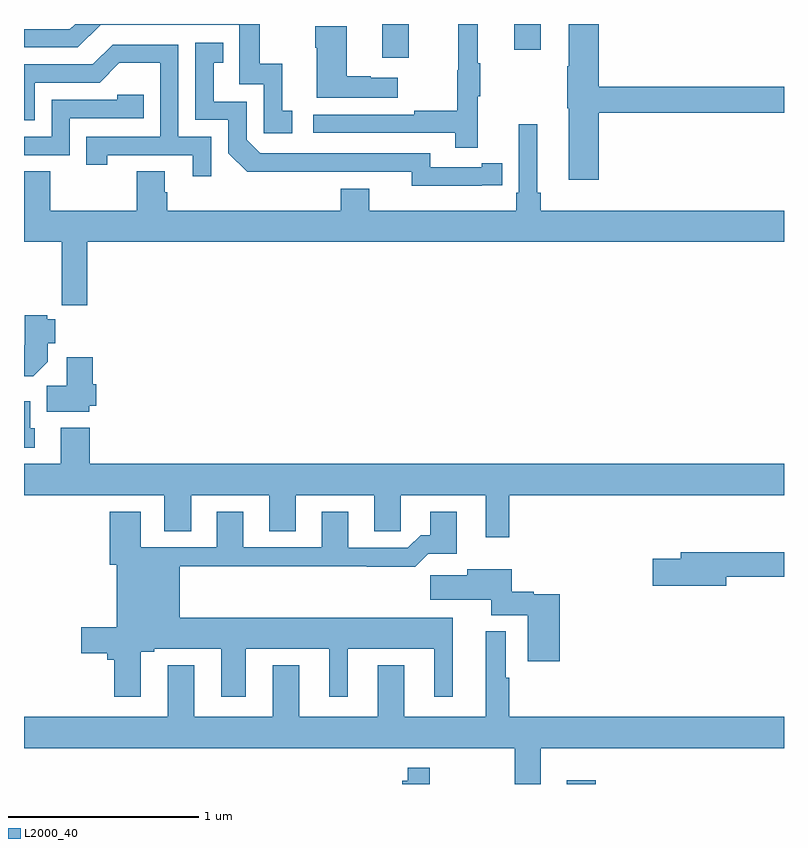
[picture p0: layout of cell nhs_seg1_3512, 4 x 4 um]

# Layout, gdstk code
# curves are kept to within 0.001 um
import gdstk
lib = gdstk.Library(unit=1e-6, precision=1e-09)
def R(c, l, rs):  # rectangles x0, y0, x1, y1
    for r in rs: c.add(gdstk.rectangle(r[:2], r[2:], *l))
def P(c, l, *ps):  # polygons
    for p in ps: c.add(gdstk.Polygon(p, *l))
L2000_40 = (2000, 40)

nhs_seg1_3512 = lib.new_cell('nhs_seg1_3512')
R(nhs_seg1_3512, L2000_40, [(303.857,562.199,304.01,562.219), (302.885,566.022,303.025,566.199), (303.581,566.064,303.721,566.199)])
P(nhs_seg1_3512, L2000_40, [(304.025,565.732),(305,565.732),(305,565.868),(304.025,565.868),(304.025,566.199),(303.866,566.199),(303.866,565.976),(303.859,565.976),(303.859,565.755),(303.866,565.755),(303.866,565.38),(304.025,565.38)],
  [(302.413,565.743),(302.36,565.743),(302.36,565.99),(302.242,565.99),(302.242,566.199),(301.269,566.199),(301.242,566.172),(301,566.172),(301,566.076),(301.284,566.076),(301.404,566.196),(302.133,566.196),(302.133,565.881),(302.262,565.881),(302.262,565.623),(302.413,565.623)],
  [(303.389,565.819),(303.4,565.819),(303.4,565.993),(303.389,565.993),(303.389,566.199),(303.286,566.199),(303.286,565.956),(303.279,565.956),(303.279,565.742),(303.055,565.742),(303.055,565.722),(302.523,565.722),(302.523,565.626),(303.271,565.626),(303.271,565.548),(303.389,565.548)],
  [(302.968,565.915),(302.825,565.915),(302.825,565.925),(302.698,565.925),(302.698,566.188),(302.533,566.188),(302.533,566.075),(302.54,566.075),(302.54,565.811),(302.968,565.811)],
  [(303.41,565.35),(303.518,565.35),(303.518,565.466),(303.41,565.466),(303.41,565.446),(303.138,565.446),(303.138,565.518),(302.244,565.518),(302.172,565.59),(302.172,565.791),(301.999,565.791),(301.999,565.995),(302.048,565.995),(302.048,566.101),(301.902,566.101),(301.902,565.695),(302.076,565.695),(302.076,565.518),(302.174,565.421),(303.042,565.422),(303.042,565.349)],
  [(301.986,565.605),(301.812,565.605),(301.812,566.091),(301.466,566.091),(301.361,565.986),(301,565.986),(301,565.692),(301.056,565.692),(301.056,565.89),(301.398,565.89),(301.502,565.994),(301.716,565.994),(301.716,565.605),(301.327,565.605),(301.327,565.458),(301.438,565.458),(301.438,565.509),(301.889,565.509),(301.889,565.398),(301.986,565.398)],
  [(301.242,565.704),(301.631,565.704),(301.631,565.827),(301.491,565.827),(301.491,565.8),(301.146,565.8),(301.146,565.605),(301,565.605),(301,565.509),(301.242,565.509)],
  [(301.334,565.052),(305,565.052),(305,565.216),(303.719,565.216),(303.719,565.312),(303.7,565.312),(303.7,565.672),(303.603,565.672),(303.603,565.312),(303.59,565.312),(303.59,565.216),(302.818,565.216),(302.818,565.333),(302.666,565.333),(302.666,565.216),(301.754,565.216),(301.754,565.314),(301.741,565.314),(301.741,565.424),(301.594,565.424),(301.594,565.216),(301.137,565.216),(301.137,565.424),(301,565.424),(301,565.052),(301.198,565.052),(301.198,564.832),(301.199,564.832),(301.199,564.72),(301.334,564.72)],
  [(301.126,564.422),(301.126,564.518),(301.165,564.518),(301.165,564.646),(301.122,564.646),(301.122,564.666),(301.004,564.666),(301.004,564.508),(301,564.508),(301,564.344),(301.048,564.344)],
  [(301.344,564.189),(301.379,564.189),(301.379,564.303),(301.361,564.303),(301.361,564.445),(301.226,564.445),(301.226,564.296),(301.121,564.296),(301.121,564.158),(301.344,564.158)],
  [(301.057,564.072),(301.033,564.072),(301.033,564.214),(301,564.214),(301,563.97),(301.057,563.97)],
  [(303.553,563.72),(305,563.72),(305,563.884),(301.346,563.884),(301.346,564.073),(301.193,564.073),(301.193,563.884),(301,563.884),(301,563.72),(301.739,563.72),(301.739,563.53),(301.879,563.53),(301.879,563.72),(302.291,563.72),(302.291,563.53),(302.431,563.53),(302.431,563.72),(302.843,563.72),(302.843,563.53),(302.982,563.53),(302.982,563.72),(303.431,563.72),(303.431,563.499),(303.553,563.499)],
  [(301.615,562.895),(301.686,562.895),(301.686,562.91),(302.039,562.91),(302.039,562.659),(302.167,562.659),(302.167,562.91),(302.606,562.91),(302.606,562.659),(302.704,562.659),(302.704,562.91),(303.158,562.91),(303.158,562.659),(303.256,562.659),(303.256,563.074),(301.819,563.074),(301.819,563.344),(302.803,563.344),(302.803,563.342),(303.059,563.342),(303.128,563.411),(303.277,563.411),(303.277,563.632),(303.137,563.632),(303.137,563.509),(303.088,563.509),(303.021,563.442),(302.707,563.442),(302.707,563.632),(302.567,563.632),(302.567,563.445),(302.155,563.445),(302.155,563.632),(302.015,563.632),(302.015,563.445),(301.615,563.445),(301.615,563.632),(301.451,563.632),(301.451,563.352),(301.487,563.352),(301.487,563.025),(301.302,563.025),(301.302,562.888),(301.439,562.888),(301.439,562.853),(301.475,562.853),(301.475,562.659),(301.615,562.659)],
  [(304.696,563.29),(305,563.29),(305,563.419),(304.457,563.419),(304.457,563.385),(304.308,563.385),(304.308,563.243),(304.696,563.243)],
  [(303.821,563.197),(303.684,563.197),(303.684,563.21),(303.568,563.21),(303.568,563.329),(303.332,563.329),(303.332,563.297),(303.138,563.297),(303.138,563.168),(303.458,563.168),(303.458,563.087),(303.65,563.087),(303.65,562.845),(303.821,562.845)],
  [(303.721,562.388),(305,562.388),(305,562.552),(303.553,562.552),(303.553,562.757),(303.535,562.757),(303.535,563.002),(303.431,563.002),(303.431,562.552),(303.001,562.552),(303.001,562.825),(302.861,562.825),(302.861,562.552),(302.449,562.552),(302.449,562.825),(302.309,562.825),(302.309,562.552),(301.897,562.552),(301.897,562.825),(301.757,562.825),(301.757,562.552),(301,562.552),(301,562.388),(303.582,562.388),(303.582,562.199),(303.721,562.199)],
  [(303.135,562.285),(303.019,562.285),(303.019,562.216),(302.99,562.216),(302.99,562.199),(303.135,562.199)])

lib.write_gds('nhs_seg1_3512.gds')
